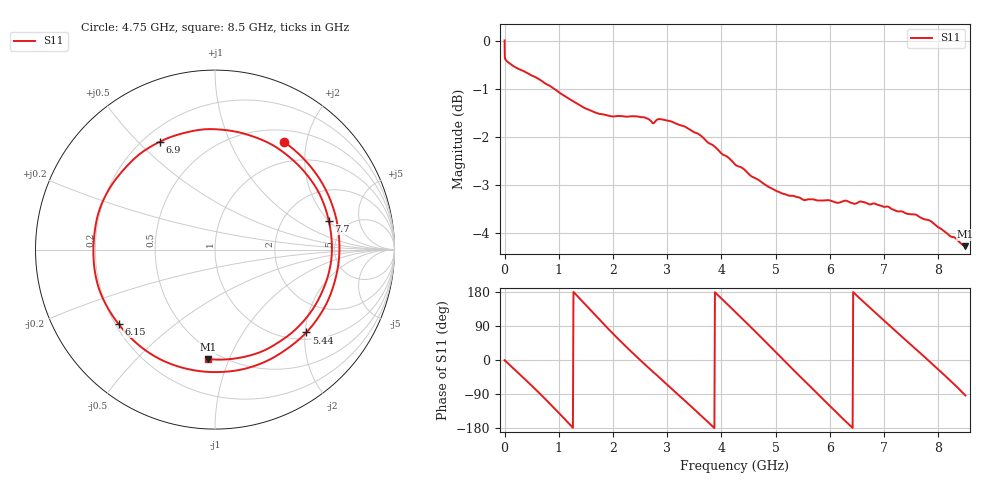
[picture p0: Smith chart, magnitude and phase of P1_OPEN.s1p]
! LibreCAL 5mOUNstcbC0A set FACTORY P1_OPEN
# GHz S RI R 50
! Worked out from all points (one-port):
!   1202 points, 9 kHz to 8.5 GHz, reference 50 ohm
!   lowest |S11| = -4.3 dB at 8.5 GHz (marker M1), VSWR 4.15, Z = 21.5 - j42 ohm
!   |S11| at or under -10 dB: nowhere
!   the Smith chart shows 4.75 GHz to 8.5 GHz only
!   S11 on the Smith chart (normalised r, x): 4.75 GHz: 0.67, +1.63; 5.44 GHz: 1.16, -2.03; 6.15 GHz: 0.21, -0.33; 6.9 GHz: 0.26, +0.58; 7.7 GHz: 3.60, +2.00; 8.5 GHz: 0.43, -0.84
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9e-06  1 -0.00991
0.32  0.6777 -0.6388
0.57  0.1981 -0.8946
0.81  -0.3323 -0.8353
1.07  -0.7611 -0.439
1.36  -0.8334 0.2071
1.67  -0.4017 0.7403
1.89  0.0648 0.8339
2.13  0.5291 0.6459
2.6  0.8086 -0.194
2.93  0.461 -0.6873
3.19  0.00133 -0.8188
3.45  -0.448 -0.67
3.76  -0.756 -0.2046
4.26  -0.4371 0.6009
4.5  -0.0345 0.7265
4.75  0.3864 0.5985
5.04  0.6726 0.1845
5.32  0.6256 -0.2917
5.44  0.5094 -0.4613
5.79  -0.0183 -0.6823
6.15  -0.537 -0.4151
6.38  -0.6749 -0.0763
6.9  -0.3071 0.6012
7.44  0.4495 0.4847
7.7  0.6344 0.1592
8.05  0.5455 -0.3309
8.5  -0.0398 -0.6107
